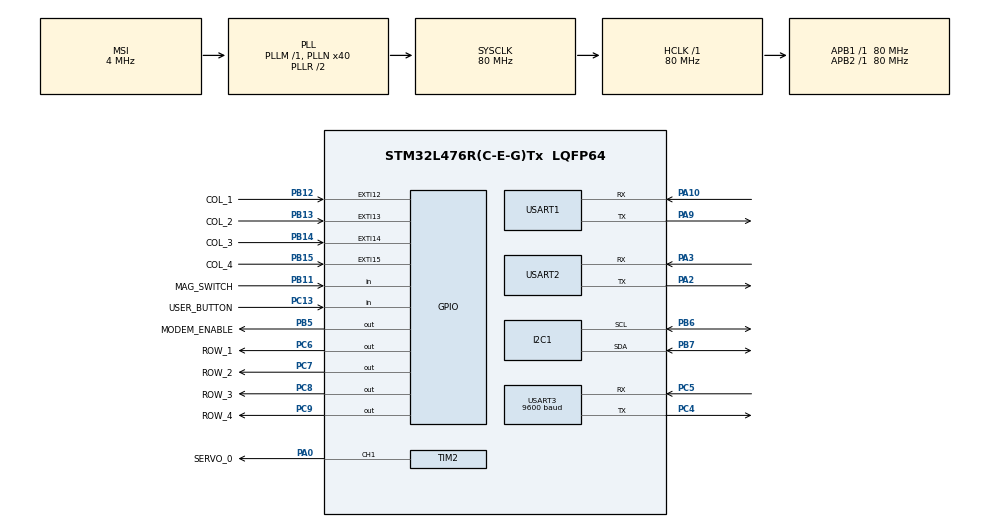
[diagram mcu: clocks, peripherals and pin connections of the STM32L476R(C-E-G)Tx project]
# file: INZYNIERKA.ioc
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I2C1.Timing=0x10909CEC
IWDG.Prescaler=IWDG_PRESCALER_64
Mcu.Family=STM32L4
Mcu.Name=STM32L476R(C-E-G)Tx
Mcu.Package=LQFP64
NVIC.EXTI15_10_IRQn=true\:12\:0\:true\:false\:true\:true\:true\:true
NVIC.PriorityGroup=NVIC_PRIORITYGROUP_4
NVIC.RNG_IRQn=true\:2\:0\:true\:false\:true\:true\:true\:true
NVIC.USART1_IRQn=true\:8\:0\:true\:false\:true\:true\:true\:true
NVIC.USART2_IRQn=true\:10\:0\:true\:false\:true\:true\:true\:true
NVIC.USART3_IRQn=true\:8\:0\:true\:false\:true\:true\:true\:true
PA0.GPIO_Label=SERVO_0
PA0.Signal=S_TIM2_CH1
PA10.Mode=Asynchronous
PA10.Signal=USART1_RX
PA13\ (JTMS-SWDIO).Mode=Serial_Wire
PA13\ (JTMS-SWDIO).Signal=SYS_JTMS-SWDIO
PA14\ (JTCK-SWCLK).Mode=Serial_Wire
PA14\ (JTCK-SWCLK).Signal=SYS_JTCK-SWCLK
PA2.Mode=Asynchronous
PA2.Signal=USART2_TX
PA3.Mode=Asynchronous
PA3.Signal=USART2_RX
PA9.Mode=Asynchronous
PA9.Signal=USART1_TX
PB11.GPIO_Label=MAG_SWITCH
PB11.GPIO_PuPd=GPIO_PULLUP
PB11.Signal=GPIO_Input
PB12.GPIO_Label=COL_1
PB12.Signal=GPXTI12
PB13.GPIO_Label=COL_2
PB13.Signal=GPXTI13
PB14.GPIO_Label=COL_3
PB14.Signal=GPXTI14
PB15.GPIO_Label=COL_4
PB15.Signal=GPXTI15
PB5.GPIO_Label=MODEM_ENABLE
PB5.GPIO_PuPd=GPIO_NOPULL
PB5.Signal=GPIO_Output
PB6.Mode=I2C
PB6.Signal=I2C1_SCL
PB7.Mode=I2C
PB7.Signal=I2C1_SDA
PC13.GPIO_Label=USER_BUTTON
PC13.Signal=GPIO_Input
PC14-OSC32_IN\ (PC14).Mode=LSE-External-Oscillator
PC14-OSC32_IN\ (PC14).Signal=RCC_OSC32_IN
PC15-OSC32_OUT\ (PC15).Mode=LSE-External-Oscillator
PC15-OSC32_OUT\ (PC15).Signal=RCC_OSC32_OUT
PC4.Mode=Asynchronous
PC4.Signal=USART3_TX
PC5.Mode=Asynchronous
PC5.Signal=USART3_RX
PC6.GPIO_Label=ROW_1
PC6.GPIO_PuPd=GPIO_NOPULL
PC6.Signal=GPIO_Output
PC7.GPIO_Label=ROW_2
PC7.GPIO_PuPd=GPIO_NOPULL
PC7.Signal=GPIO_Output
PC8.GPIO_Label=ROW_3
PC8.GPIO_PuPd=GPIO_NOPULL
PC8.Signal=GPIO_Output
PC9.GPIO_Label=ROW_4
PC9.GPIO_PuPd=GPIO_NOPULL
PC9.Signal=GPIO_Output
ProjectManager.HeapSize=0x200
ProjectManager.StackSize=0x400
ProjectManager.TargetToolchain=STM32CubeIDE
RCC.ADCFreq_Value=32000000
RCC.AHBFreq_Value=80000000
RCC.APB1Freq_Value=80000000
RCC.APB1TimFreq_Value=80000000
RCC.APB2Freq_Value=80000000
RCC.APB2TimFreq_Value=80000000
RCC.CortexFreq_Value=80000000
RCC.HCLKFreq_Value=80000000
RCC.HSE_VALUE=8000000
RCC.HSI_VALUE=16000000
RCC.MSI_VALUE=4000000
RCC.PLLN=40
RCC.PLLSAI1N=16
RCC.RTCClockSelection=RCC_RTCCLKSOURCE_LSE
RCC.SYSCLKFreq_VALUE=80000000
RCC.SYSCLKSource=RCC_SYSCLKSOURCE_PLLCLK
RCC.USBFreq_Value=32000000
RCC.VCOOutputFreq_Value=160000000
SH.S_TIM2_CH1.0=TIM2_CH1,PWM Generation1 CH1
TIM2.Channel-PWM\ Generation1\ CH1=TIM_CHANNEL_1
TIM2.Period=20000
TIM2.Prescaler=79
TIM2.Pulse-PWM\ Generation1\ CH1=1000
USART1.AutoBaudRateEnableParam=UART_ADVFEATURE_AUTOBAUDRATE_DISABLE
USART1.SwapParam=ADVFEATURE_SWAP_DISABLE
USART1.VirtualMode-Asynchronous=VM_ASYNC
USART2.VirtualMode-Asynchronous=VM_ASYNC
USART3.AutoBaudRateEnableParam=UART_ADVFEATURE_AUTOBAUDRATE_DISABLE
USART3.BaudRate=9600
USART3.OverrunDisableParam=ADVFEATURE_OVERRUN_ENABLE
USART3.SwapParam=ADVFEATURE_SWAP_DISABLE
USART3.VirtualMode-Asynchronous=VM_ASYNC
VP_IWDG_VS_IWDG.Mode=IWDG_Activate
VP_RNG_VS_RNG.Mode=RNG_Activate
VP_RTC_VS_RTC_Activate.Mode=RTC_Enabled
VP_TIM2_VS_ClockSourceINT.Mode=Internal
board=custom

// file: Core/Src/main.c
/* USER CODE BEGIN Header */
/**
  ******************************************************************************
  * @file           : main.c
  * @brief          : Main program body
  ******************************************************************************
  * @attention
  *
  * Copyright (c) 2023 STMicroelectronics.
  * All rights reserved.
  *
  * This software is licensed under terms that can be found in the LICENSE file
  * in the root directory of this software component.
  * If no LICENSE file comes with this software, it is provided AS-IS.
  *
  ******************************************************************************
  */
/* USER CODE END Header */
#include "main.h"
#include "i2c.h"
#include "iwdg.h"
#include "rng.h"
#include "rtc.h"
#include "tim.h"
#include "usart.h"
#include "gpio.h"

/* USER CODE BEGIN Includes */
#include <stdio.h>
#include <string.h>
#include <stdbool.h>
#include "HD44780.h"
/* USER CODE END Includes */

void SystemClock_Config(void);

/* USER CODE BEGIN 0 */
#define LINE_MAX_LENGTH 80
#define PREFIX_LENGTH 5
#define TIMEOUT_MS 50
#define BUFFER_SIZE 5
#define delay_second 16000000

static char line_buffer_debug[LINE_MAX_LENGTH + 1];
static char line_buffer_debug_GSM[LINE_MAX_LENGTH + 1];
static char line_buffer_debug_BLE[LINE_MAX_LENGTH + 1];
static char line_buffer_bluetooth[LINE_MAX_LENGTH + 1];
static char line_buffer_gsm[LINE_MAX_LENGTH + 1];

static uint32_t line_lenght_debug;
static uint32_t line_lenght_debug_BLE;
static uint32_t line_lenght_debug_GSM;
static uint32_t line_lenght_bluetooth;
static uint32_t line_lenght_gsm;

bool if_send_end_line = false;
bool if_phone_number_set = false;
bool if_phone_number_set_latch = false;
bool can_send_sms = false;
bool if_door_open;
bool if_key_pressed = false;

uint32_t last_byte_time = 0;
uint32_t last_command_time = 0;

char phone_number[10];
char access_key[5];
char key_buffer[5];
char open_close_cmd[7];

void send_SMS(void);
void delay(uint32_t iterations);
void add_digit(char digit);

void line_append_debug(uint8_t value)
{
	if(value == '\r' || value == '\n')
	{
		if(line_lenght_debug >= 0)
		{
			if(strncmp(line_buffer_debug, "B ", 2) == 0)
			{
				strncpy(line_buffer_debug_BLE, &line_buffer_debug[2], (LINE_MAX_LENGTH - 2));
				line_lenght_debug_BLE = line_lenght_debug - 2;
				line_buffer_debug_BLE[line_lenght_debug_BLE++] = '\r';
				line_buffer_debug_BLE[line_lenght_debug_BLE++] = '\n';
				line_buffer_debug_BLE[line_lenght_debug_BLE] = '\0';
				HAL_UART_Transmit_IT(&huart3, (uint8_t*)line_buffer_debug_BLE, line_lenght_debug_BLE);
			} else if (strncmp(line_buffer_debug, "G ", 2) == 0)
			{
				strncpy(line_buffer_debug_GSM, &line_buffer_debug[2], (LINE_MAX_LENGTH - 2));
				line_lenght_debug_GSM = line_lenght_debug - 2;
				line_buffer_debug_GSM[line_lenght_debug_GSM++] = '\n';
				line_buffer_debug_GSM[line_lenght_debug_GSM] = '\0';
				HAL_UART_Transmit_IT(&huart1, (uint8_t*)line_buffer_debug_GSM, line_lenght_debug_GSM);
			}
			line_buffer_debug[line_lenght_debug] = '\0';
			if_send_end_line = true;
			HAL_UART_Transmit_IT(&huart2, (uint8_t*)line_buffer_debug, strlen(line_buffer_debug));
			line_lenght_debug = 0;
		}
	} else
	{
		if(line_lenght_debug >= LINE_MAX_LENGTH)
		{
			line_lenght_debug = 0;
		}
		line_buffer_debug[line_lenght_debug++] = value;
	}
}

void line_append_bluetooth(uint8_t value)
{

	if(value == '\r' || value == '\n')
	{
		if(line_lenght_bluetooth > 0)
		{
			line_buffer_bluetooth[line_lenght_bluetooth] = '\0';
			if_send_end_line = true;
			HAL_UART_Transmit_IT(&huart2, (uint8_t*)line_buffer_bluetooth, strlen(line_buffer_bluetooth));
			line_lenght_bluetooth = 0;
		}
	} else if(value == '#')
	{
		if(line_lenght_bluetooth > 0)
		{
			strncpy(phone_number, line_buffer_bluetooth, 9);
			phone_number[9] = '\0';
			if_send_end_line = true;
			if_phone_number_set = true;
			if_phone_number_set_latch = true;
			HAL_UART_Transmit_IT(&huart2, (uint8_t*)phone_number, strlen(phone_number));
			line_lenght_bluetooth = 0;

			send_SMS();
		}
	} else if(value == '*')
	{
		if(line_lenght_bluetooth > 0)
		{
			line_buffer_bluetooth[line_lenght_bluetooth] = '\0';
			if_send_end_line = true;
			strcpy(open_close_cmd, line_buffer_bluetooth);
			HAL_UART_Transmit_IT(&huart2, (uint8_t*)line_buffer_bluetooth, strlen(line_buffer_bluetooth));
			line_lenght_bluetooth = 0;
		}

	}else
	{
		if(line_lenght_bluetooth >= LINE_MAX_LENGTH)
		{
			line_lenght_bluetooth = 0;
		}
		line_buffer_bluetooth[line_lenght_bluetooth++] = value;
	}
}

void line_append_gsm(uint8_t value)
{
	if(line_lenght_gsm < LINE_MAX_LENGTH)
	{
		line_buffer_gsm[line_lenght_gsm++] = value;
		last_byte_time = HAL_GetTick();
	} else
	{
		line_lenght_gsm = 0;
	}
}

void check_timeout_gsm(void)
{
	if(line_lenght_gsm > 0 && (HAL_GetTick() - last_byte_time > TIMEOUT_MS))
	{
		line_buffer_gsm[line_lenght_gsm] = '\0';
		HAL_UART_Transmit_IT(&huart2, (uint8_t*)line_buffer_gsm, strlen(line_buffer_gsm));
		line_lenght_gsm = 0;
	}
}

void send_end_line(void)
{
	static char end_signs[3] = "\r\n\0";

	if(if_send_end_line == true)
	{
		HAL_UART_Transmit_IT(&huart2, (uint8_t*)end_signs, 3);
		if_send_end_line = false;
	}
}

uint8_t uart2_rx_buffer, uart1_rx_buffer, uart3_rx_buffer;

void HAL_UART_RxCpltCallback(UART_HandleTypeDef *huart)
{
	if(huart == &huart2)
	{
		line_append_debug(uart2_rx_buffer);
		HAL_UART_Receive_IT(&huart2, &uart2_rx_buffer, 1);
	}
	else if(huart == &huart1)
	{
		line_append_gsm(uart1_rx_buffer);
		HAL_UART_Receive_IT(&huart1, &uart1_rx_buffer, 1);
	}
	else if(huart == &huart3)
	{
		line_append_bluetooth(uart3_rx_buffer);
		HAL_UART_Receive_IT(&huart3, &uart3_rx_buffer, 1);
	}
}

void access_key_draw(void)
{
	static uint32_t random_number;
	static uint16_t access_code;

	if(if_phone_number_set == true)
	{
		HAL_RNG_GenerateRandomNumber(&hrng, &random_number);
		access_code = random_number % 10000;
		sprintf(access_key, "%04u", access_code);
		if_phone_number_set = false;
	}
}

typedef enum{
	MESSAGE_1,
	MESSAGE_2,
	MESSAGE_3,
	MESSAGE_4,
	MESSAGE_5,
	DONE
}sender_state;

int message_number = MESSAGE_1;

void send_SMS(void)
{
	static char message_cmgf[] = "AT+CMGF=1\r";
	static char message_cscs[] = "AT+CSCS=\"GSM\"\r";
	static char message_cmgs[31];
	sprintf(message_cmgs, "AT+CMGS=\"+48%s\"\r", phone_number);
	access_key_draw();
	static char message_message[34];
	sprintf(message_message, "Kod dostepu do skrytki: %s", access_key);
	static char message_ctrlz = 0x1A;

	delay(100);

	switch(message_number)
	{
	case MESSAGE_1:
		HAL_UART_Transmit_IT(&huart1, (uint8_t*)message_cmgf, strlen(message_cmgf));
		message_number = MESSAGE_2;
		break;
	case MESSAGE_2:
		HAL_UART_Transmit_IT(&huart1, (uint8_t*)message_cscs, strlen(message_cscs));
		message_number = MESSAGE_3;
		break;
	case MESSAGE_3:
		HAL_UART_Transmit_IT(&huart1, (uint8_t*)message_cmgs, strlen(message_cmgs));
		message_number = MESSAGE_4;
		break;
	case MESSAGE_4:
		HAL_UART_Transmit_IT(&huart1, (uint8_t*)message_message, strlen(message_message));
		message_number = MESSAGE_5;
		break;
	case MESSAGE_5:
		HAL_UART_Transmit_IT(&huart1, (uint8_t*)&message_ctrlz, 1);
		message_number = DONE;
		break;
	default:
		break;
	}
}

void send_AT_init(void)
{
	static char AT_init[] = "AT\r\n";

	HAL_UART_Transmit_IT(&huart1, (uint8_t*)AT_init, strlen(AT_init));
	HAL_UART_Transmit_IT(&huart2, (uint8_t*)AT_init, strlen(AT_init));
	HAL_UART_Transmit_IT(&huart3, (uint8_t*)AT_init, strlen(AT_init));
}

void HAL_UART_TxCpltCallback(UART_HandleTypeDef *huart)
{
	if(huart == &huart1)
	{
		if(if_phone_number_set_latch == true)
		{
			send_SMS();
		}
	}
	if(huart == &huart2)
	{
		send_end_line();
	}
}

GPIO_InitTypeDef GPIO_InitStructPrivate = {0};
uint32_t previousMillis = 0;
uint32_t currentMillis = 0;
volatile uint8_t pressed_key = '\0';

void HAL_GPIO_EXTI_Callback(uint16_t GPIO_Pin)
{
	currentMillis = HAL_GetTick();
	if(currentMillis - previousMillis > 200 )
	{
		GPIO_InitStructPrivate.Pin = COL_1_Pin|COL_2_Pin|COL_3_Pin|COL_4_Pin;
		GPIO_InitStructPrivate.Mode = GPIO_MODE_INPUT;
		GPIO_InitStructPrivate.Pull = GPIO_NOPULL;
		GPIO_InitStructPrivate.Speed = GPIO_SPEED_FREQ_LOW;
		HAL_GPIO_Init(COL_1_GPIO_Port, &GPIO_InitStructPrivate);

		HAL_GPIO_WritePin(ROW_1_GPIO_Port, ROW_1_Pin, 1);
		HAL_GPIO_WritePin(ROW_2_GPIO_Port, ROW_2_Pin, 0);
		HAL_GPIO_WritePin(ROW_3_GPIO_Port, ROW_3_Pin, 0);
		HAL_GPIO_WritePin(ROW_4_GPIO_Port, ROW_4_Pin, 0);
		if(GPIO_Pin == COL_1_Pin && HAL_GPIO_ReadPin(COL_1_GPIO_Port, COL_1_Pin))
		{
			pressed_key = '1';
		} else if(GPIO_Pin == COL_2_Pin && HAL_GPIO_ReadPin(COL_2_GPIO_Port, COL_2_Pin))
		{
			pressed_key = '2';
		} else if(GPIO_Pin == COL_3_Pin && HAL_GPIO_ReadPin(COL_3_GPIO_Port, COL_3_Pin))
		{
			pressed_key = '3';
		} else if(GPIO_Pin == COL_4_Pin && HAL_GPIO_ReadPin(COL_4_GPIO_Port, COL_4_Pin))
		{
			pressed_key = 'A';
		}

		HAL_GPIO_WritePin(ROW_1_GPIO_Port, ROW_1_Pin, 0);
		HAL_GPIO_WritePin(ROW_2_GPIO_Port, ROW_2_Pin, 1);
		HAL_GPIO_WritePin(ROW_3_GPIO_Port, ROW_3_Pin, 0);
		HAL_GPIO_WritePin(ROW_4_GPIO_Port, ROW_4_Pin, 0);
		if(GPIO_Pin == COL_1_Pin && HAL_GPIO_ReadPin(COL_1_GPIO_Port, COL_1_Pin))
		{
			pressed_key = '4';
		} else if(GPIO_Pin == COL_2_Pin && HAL_GPIO_ReadPin(COL_2_GPIO_Port, COL_2_Pin))
		{
			pressed_key = '5';
		} else if(GPIO_Pin == COL_3_Pin && HAL_GPIO_ReadPin(COL_3_GPIO_Port, COL_3_Pin))
		{
			pressed_key = '6';
		} else if(GPIO_Pin == COL_4_Pin && HAL_GPIO_ReadPin(COL_4_GPIO_Port, COL_4_Pin))
		{
			pressed_key = 'B';
		}

		HAL_GPIO_WritePin(ROW_1_GPIO_Port, ROW_1_Pin, 0);
		HAL_GPIO_WritePin(ROW_2_GPIO_Port, ROW_2_Pin, 0);
		HAL_GPIO_WritePin(ROW_3_GPIO_Port, ROW_3_Pin, 1);
		HAL_GPIO_WritePin(ROW_4_GPIO_Port, ROW_4_Pin, 0);
		if(GPIO_Pin == COL_1_Pin && HAL_GPIO_ReadPin(COL_1_GPIO_Port, COL_1_Pin))
		{
			pressed_key = '7';
		} else if(GPIO_Pin == COL_2_Pin && HAL_GPIO_ReadPin(COL_2_GPIO_Port, COL_2_Pin))
		{
			pressed_key = '8';
		} else if(GPIO_Pin == COL_3_Pin && HAL_GPIO_ReadPin(COL_3_GPIO_Port, COL_3_Pin))
		{
			pressed_key = '9';
		} else if(GPIO_Pin == COL_4_Pin && HAL_GPIO_ReadPin(COL_4_GPIO_Port, COL_4_Pin))
		{
			pressed_key = 'C';
		}

		HAL_GPIO_WritePin(ROW_1_GPIO_Port, ROW_1_Pin, 0);
		HAL_GPIO_WritePin(ROW_2_GPIO_Port, ROW_2_Pin, 0);
		HAL_GPIO_WritePin(ROW_3_GPIO_Port, ROW_3_Pin, 0);
		HAL_GPIO_WritePin(ROW_4_GPIO_Port, ROW_4_Pin, 1);
		if(GPIO_Pin == COL_1_Pin && HAL_GPIO_ReadPin(COL_1_GPIO_Port, COL_1_Pin))
		{
			pressed_key = '*';
		} else if(GPIO_Pin == COL_2_Pin && HAL_GPIO_ReadPin(COL_2_GPIO_Port, COL_2_Pin))
		{
			pressed_key = '0';
		} else if(GPIO_Pin == COL_3_Pin && HAL_GPIO_ReadPin(COL_3_GPIO_Port, COL_3_Pin))
		{
			pressed_key = '#';
		} else if(GPIO_Pin == COL_4_Pin && HAL_GPIO_ReadPin(COL_4_GPIO_Port, COL_4_Pin))
		{
			pressed_key = 'D';
		}

		  HAL_GPIO_WritePin(ROW_1_GPIO_Port, ROW_1_Pin, 1);
		  HAL_GPIO_WritePin(ROW_2_GPIO_Port, ROW_2_Pin, 1);
		  HAL_GPIO_WritePin(ROW_3_GPIO_Port, ROW_3_Pin, 1);
		  HAL_GPIO_WritePin(ROW_4_GPIO_Port, ROW_4_Pin, 1);
		  GPIO_InitStructPrivate.Mode = GPIO_MODE_IT_RISING;
		  GPIO_InitStructPrivate.Pull = GPIO_PULLDOWN;
		  HAL_GPIO_Init(COL_1_GPIO_Port, &GPIO_InitStructPrivate);

		  if((pressed_key == '1'|| pressed_key == '2'|| pressed_key == '3'|| pressed_key == '4'|| pressed_key == '5'|| pressed_key == '6'|| pressed_key == '7'|| pressed_key == '8'|| pressed_key == '9'|| pressed_key == '0') && if_phone_number_set_latch == true)
		  		  {
		  			  char pressed_digit = pressed_key;
		  			  add_digit(pressed_digit);
		  			  pressed_key = '\0';
		  			  if_key_pressed = true;
		  		  }

		  previousMillis = currentMillis;

	}
}

int current_index = 0;

void add_digit(char digit)
{
	if(current_index < BUFFER_SIZE - 1)
	{
		key_buffer[current_index++] = digit;
		key_buffer[current_index] = '\0';
	}
}

void reset_buffer()
{
	memset(key_buffer, 0, BUFFER_SIZE);
	current_index = 0;
}

void delay(uint32_t iterations)
{
	while(iterations-- > 0)
	{
		__NOP();
	}
}
/* USER CODE END 0 */

int main(void)
{

  /* MCU Configuration--------------------------------------------------------*/

  /* Reset of all peripherals, Initializes the Flash interface and the Systick. */
  HAL_Init();

  /* Configure the system clock */
  SystemClock_Config();

  /* Initialize all configured peripherals */
  MX_GPIO_Init();
  MX_RNG_Init();
  MX_RTC_Init();
  MX_USART1_UART_Init();
  MX_USART2_UART_Init();
  MX_USART3_UART_Init();
  MX_I2C1_Init();
  MX_TIM2_Init();
  MX_IWDG_Init();
  /* USER CODE BEGIN 2 */

  HAL_GPIO_WritePin(MODEM_ENABLE_GPIO_Port, MODEM_ENABLE_Pin, GPIO_PIN_SET);
  HAL_Delay(1000);

  lcd_init();
  send_AT_init();

  lcd_backlight(1);
  lcd_clear();

  HAL_TIM_PWM_Start(&htim2, TIM_CHANNEL_1);
  __HAL_TIM_SET_COMPARE(&htim2, TIM_CHANNEL_1, 1600);

  memset(key_buffer, '\0', BUFFER_SIZE);

  HAL_GPIO_WritePin(ROW_1_GPIO_Port, ROW_1_Pin, 1);
  HAL_GPIO_WritePin(ROW_2_GPIO_Port, ROW_2_Pin, 1);
  HAL_GPIO_WritePin(ROW_3_GPIO_Port, ROW_3_Pin, 1);
  HAL_GPIO_WritePin(ROW_4_GPIO_Port, ROW_4_Pin, 1);

  HAL_UART_Receive_IT(&huart2, &uart2_rx_buffer, 1);
  HAL_UART_Receive_IT(&huart1, &uart1_rx_buffer, 1);
  HAL_UART_Receive_IT(&huart3, &uart3_rx_buffer, 1);

  /* USER CODE END 2 */

  /* Infinite loop */
  /* USER CODE BEGIN WHILE */
  while (1)
  {
	  check_timeout_gsm();

	  lcd_display(if_phone_number_set_latch, if_key_pressed, key_buffer, access_key, pressed_key, open_close_cmd);

	  if_key_pressed = lcd_display_key(key_buffer, if_key_pressed);

	  if(pressed_key == 'D')
	  {
		  reset_buffer();
	  }

	  HAL_IWDG_Refresh(&hiwdg);
    /* USER CODE END WHILE */

  }
}

void SystemClock_Config(void)
{
  RCC_OscInitTypeDef RCC_OscInitStruct = {0};
  RCC_ClkInitTypeDef RCC_ClkInitStruct = {0};

  /** Configure the main internal regulator output voltage
  */
  if (HAL_PWREx_ControlVoltageScaling(PWR_REGULATOR_VOLTAGE_SCALE1) != HAL_OK)
  {
    Error_Handler();
  }

  /** Configure LSE Drive Capability
  */
  HAL_PWR_EnableBkUpAccess();
  __HAL_RCC_LSEDRIVE_CONFIG(RCC_LSEDRIVE_LOW);

  /** Initializes the RCC Oscillators according to the specified parameters
  * in the RCC_OscInitTypeDef structure.
  */
  RCC_OscInitStruct.OscillatorType = RCC_OSCILLATORTYPE_LSI|RCC_OSCILLATORTYPE_LSE
                              |RCC_OSCILLATORTYPE_MSI;
  RCC_OscInitStruct.LSEState = RCC_LSE_ON;
  RCC_OscInitStruct.LSIState = RCC_LSI_ON;
  RCC_OscInitStruct.MSIState = RCC_MSI_ON;
  RCC_OscInitStruct.MSICalibrationValue = 0;
  RCC_OscInitStruct.MSIClockRange = RCC_MSIRANGE_6;
  RCC_OscInitStruct.PLL.PLLState = RCC_PLL_ON;
  RCC_OscInitStruct.PLL.PLLSource = RCC_PLLSOURCE_MSI;
  RCC_OscInitStruct.PLL.PLLM = 1;
  RCC_OscInitStruct.PLL.PLLN = 40;
  RCC_OscInitStruct.PLL.PLLP = RCC_PLLP_DIV7;
  RCC_OscInitStruct.PLL.PLLQ = RCC_PLLQ_DIV2;
  RCC_OscInitStruct.PLL.PLLR = RCC_PLLR_DIV2;
  if (HAL_RCC_OscConfig(&RCC_OscInitStruct) != HAL_OK)
  {
    Error_Handler();
  }

  /** Initializes the CPU, AHB and APB buses clocks
  */
  RCC_ClkInitStruct.ClockType = RCC_CLOCKTYPE_HCLK|RCC_CLOCKTYPE_SYSCLK
                              |RCC_CLOCKTYPE_PCLK1|RCC_CLOCKTYPE_PCLK2;
  RCC_ClkInitStruct.SYSCLKSource = RCC_SYSCLKSOURCE_PLLCLK;
  RCC_ClkInitStruct.AHBCLKDivider = RCC_SYSCLK_DIV1;
  RCC_ClkInitStruct.APB1CLKDivider = RCC_HCLK_DIV1;
  RCC_ClkInitStruct.APB2CLKDivider = RCC_HCLK_DIV1;

  if (HAL_RCC_ClockConfig(&RCC_ClkInitStruct, FLASH_LATENCY_4) != HAL_OK)
  {
    Error_Handler();
  }

  /** Enable MSI Auto calibration
  */
  HAL_RCCEx_EnableMSIPLLMode();
}

void Error_Handler(void)
{
  __disable_irq();
  while (1)
  {
  }
}
